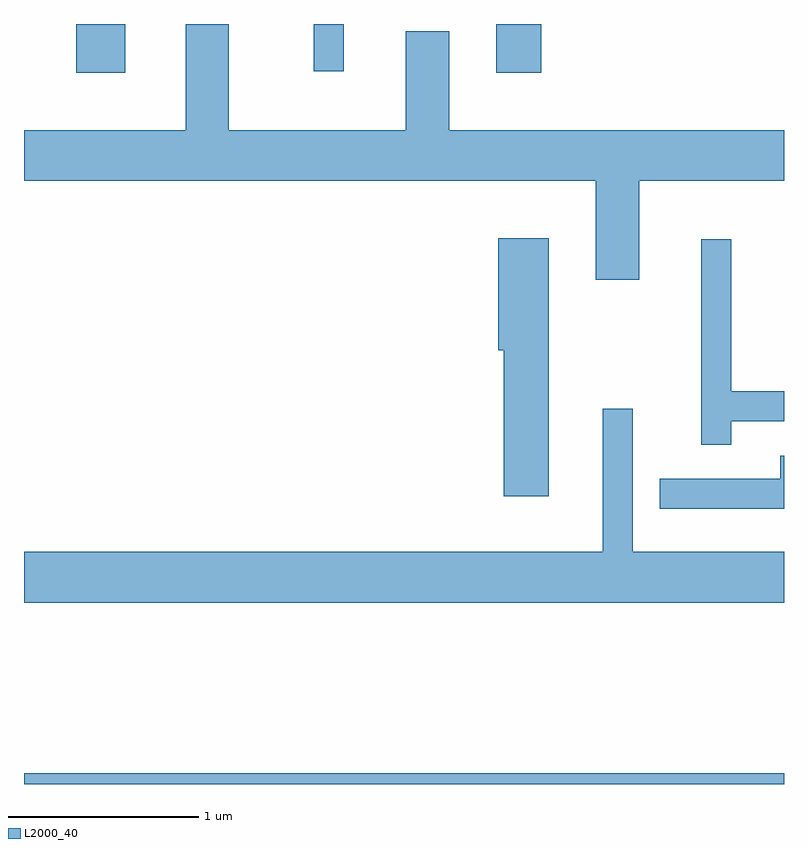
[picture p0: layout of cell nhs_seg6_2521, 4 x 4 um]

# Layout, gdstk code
import gdstk
lib = gdstk.Library(unit=1e-6, precision=1e-09)
def R(c, l, rs):  # rectangles x0, y0, x1, y1
    for r in rs: c.add(gdstk.rectangle(r[:2], r[2:], *l))
def P(c, l, *ps):  # polygons
    for p in ps: c.add(gdstk.Polygon(p, *l))
L2000_40 = (2000, 40)

nhs_seg6_2521 = lib.new_cell('nhs_seg6_2521')
R(nhs_seg6_2521, L2000_40, [(261.611,1580.162,265.611,1580.219), (261.886,1583.906,262.144,1584.162), (264.096,1583.906,264.334,1584.162), (263.136,1583.913,263.294,1584.162)])
P(nhs_seg6_2521, L2000_40, [(264.621,1582.816),(264.849,1582.816),(264.849,1583.336),(265.611,1583.336),(265.611,1583.604),(263.849,1583.604),(263.849,1584.124),(263.621,1584.124),(263.621,1583.604),(262.689,1583.604),(262.689,1584.162),(262.461,1584.162),(262.461,1583.604),(261.611,1583.604),(261.611,1583.336),(264.621,1583.336)],
  [(264.374,1583.034),(264.106,1583.034),(264.106,1582.446),(264.136,1582.446),(264.136,1581.676),(264.374,1581.676)],
  [(265.334,1582.071),(265.611,1582.071),(265.611,1582.229),(265.334,1582.229),(265.334,1583.028),(265.176,1583.028),(265.176,1581.948),(265.334,1581.948)],
  [(265.611,1581.384),(264.814,1581.384),(264.814,1582.138),(264.656,1582.138),(264.656,1581.384),(261.611,1581.384),(261.611,1581.116),(265.611,1581.116)],
  [(265.611,1581.889),(265.591,1581.889),(265.591,1581.769),(264.958,1581.769),(264.958,1581.611),(265.611,1581.611)])

lib.write_gds('nhs_seg6_2521.gds')
